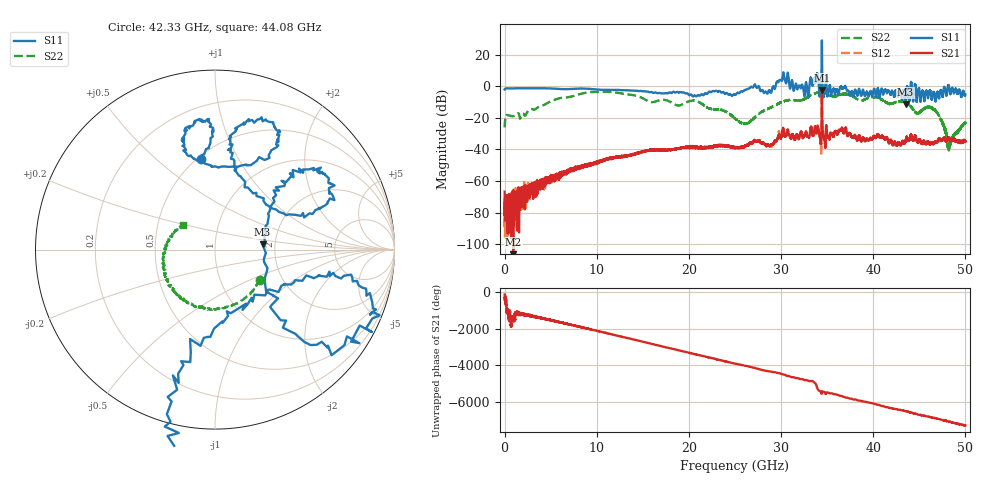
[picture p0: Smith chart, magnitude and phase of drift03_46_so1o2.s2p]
!Created with skrf (http://scikit-rf.org).
# Hz S RI R 50.0
!freq ReS11 ImS11 ReS21 ImS21 ReS12 ImS12 ReS22 ImS22
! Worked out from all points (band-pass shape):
!   10000 points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, 5.3 MHz to 50 GHz, reference 50 ohm
!   highest |S21| = -2.41 dB at 34.43 GHz (marker M1); lowest = -106.7 dB at 940.3 MHz (marker M2)
!   |S21| within 3 dB of the highest: 34.42773 GHz to 34.43459 GHz (6.857 MHz wide, 0.0199 % of centre)
!   lowest |S11| = -11.5 dB at 43.52 GHz (marker M3), VSWR 1.73, Z = 85.9 + j5.47 ohm
!   |S11| at or under -10 dB: 43.48836 GHz to 43.54759 GHz (59.23 MHz wide, 0.136 % of centre); 44.70989 GHz to 44.71009 GHz (197.4 kHz wide, 0.000441 % of centre)
!   |S22| runs from -40.7 to -3.6 dB; largest |S21 - S12| = 0.24
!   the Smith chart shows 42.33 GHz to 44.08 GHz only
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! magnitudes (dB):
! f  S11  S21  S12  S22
! 5.3 MHz  -2.1  -66.7  -75.5  -26.1
! 265.3 MHz  -1.4  -80.5  -80.9  -18.2
! 940.3 MHz  -1.4  -106.7  -73.4  -19.0
! 8.34 GHz  -1.5  -50.6  -51.0  -4.7
! 16.67 GHz  -4.4  -40.4  -40.3  -9.2
! 20.75 GHz  -6.3  -38.6  -38.3  -9.3
! 25.01 GHz  -5.5  -38.9  -39.0  -20.6
! 26.22 GHz  -2.2  -37.2  -37.3  -23.7
! 27.36 GHz  -1.1  -34.9  -34.8  -18.6
! 28.72 GHz  -2.5  -37.5  -37.6  -14.0
! 30.14 GHz  4.4  -29.4  -29.6  -9.9
! 32.74 GHz  2.0  -29.6  -29.3  -7.3
! 33.34 GHz  2.6  -27.4  -27.8  -5.3
! 33.82 GHz  4.0  -29.0  -29.6  -4.3
! 34.43 GHz  28.9  -2.4  -4.5  -4.0
! 36.48 GHz  -0.4  -27.9  -28.1  -5.4
! 41.67 GHz  -2.9  -35.6  -35.5  -10.9
! 43.52 GHz  -11.5  -34.3  -34.6  -10.5
! 44.74 GHz  -9.6  -34.7  -34.6  -17.3
! 46.66 GHz  -5.2  -35.9  -35.9  -15.1
! 48.24 GHz  -1.2  -33.2  -33.8  -36.9
! 50 GHz  -5.3  -35.0  -34.9  -23.4
